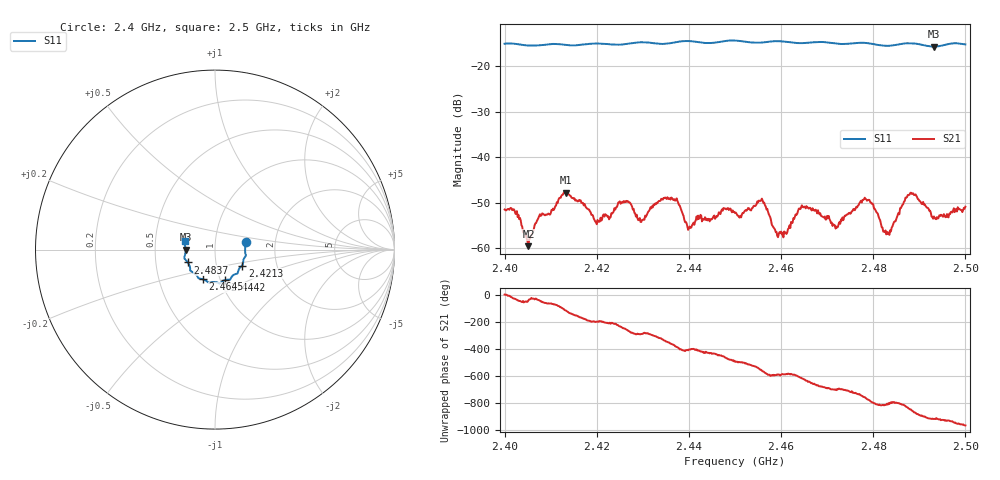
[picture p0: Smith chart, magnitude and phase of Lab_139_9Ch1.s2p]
# Hz S RI R 50
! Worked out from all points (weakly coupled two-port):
!   601 points, 2.4 GHz to 2.5 GHz, reference 50 ohm
!   highest |S21| = -47.74 dB at 2.4133 GHz (marker M1); lowest = -59.5 dB at 2.4052 GHz (marker M2)
!   lowest |S11| = -15.7 dB at 2.4932 GHz (marker M3), VSWR 1.39, Z = 35.9 - j0.0553 ohm
!   |S11| at or under -10 dB: start of sweep to end of sweep
!   S12 and S22 are empty: the file has one direction only
!   S11 on the Smith chart (normalised r, x): 2.4 GHz: 1.41, +0.12; 2.4213 GHz: 1.33, -0.25; 2.4442 GHz: 1.05, -0.37; 2.4645 GHz: 0.83, -0.29; 2.4837 GHz: 0.73, -0.11; 2.5 GHz: 0.71, +0.07
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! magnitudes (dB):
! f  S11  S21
! 2.4 GHz  -15.1  -51.5
! 2.4052 GHz  -15.5  -59.5
! 2.4133 GHz  -15.4  -47.7
! 2.4167 GHz  -15.3  -50.0
! 2.4213 GHz  -15.1  -52.8
! 2.4298 GHz  -14.8  -53.8
! 2.4333 GHz  -15.1  -49.7
! 2.4372 GHz  -14.8  -49.5
! 2.4402 GHz  -14.5  -55.2
! 2.4442 GHz  -15.0  -53.5
! 2.45 GHz  -14.4  -52.2
! 2.4558 GHz  -14.8  -49.1
! 2.4607 GHz  -14.6  -56.3
! 2.4645 GHz  -15.0  -50.6
! 2.4667 GHz  -14.8  -51.7
! 2.472 GHz  -15.1  -55.2
! 2.4787 GHz  -15.0  -49.5
! 2.4833 GHz  -15.6  -56.5
! 2.4837 GHz  -15.5  -56.0
! 2.4882 GHz  -15.0  -47.8
! 2.4932 GHz  -15.7  -53.0
! 2.5 GHz  -15.2  -50.9
